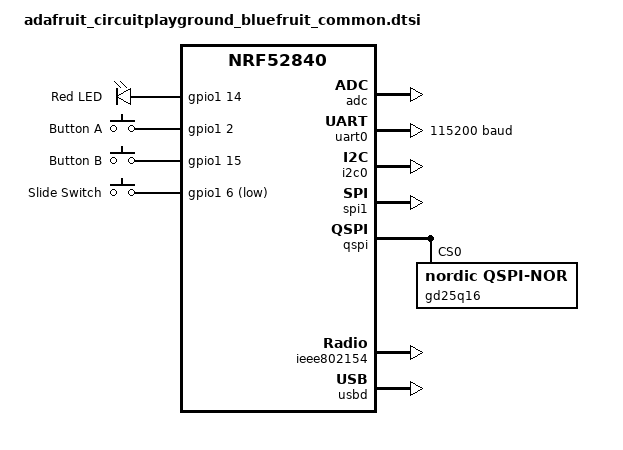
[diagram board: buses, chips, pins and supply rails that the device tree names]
/*
 * Copyright (c) 2026 Adafruit Industries LLC
 *
 * SPDX-License-Identifier: Apache-2.0
 */

/dts-v1/;
#include <nordic/nrf52840_qiaa.dtsi>
#include "adafruit_circuitplayground_bluefruit-pinctrl.dtsi"
#include <zephyr/dt-bindings/input/input-event-codes.h>

/ {
	chosen {
		zephyr,ieee802154 = &ieee802154;
	};

	leds {
		compatible = "gpio-leds";

		led0: led_0 {
			gpios = <&gpio1 14 GPIO_ACTIVE_HIGH>;
			label = "Red LED";
		};
	};

	buttons {
		compatible = "gpio-keys";

		button0: button_0 {
			gpios = <&gpio1 2 (GPIO_PULL_DOWN | GPIO_ACTIVE_HIGH)>;
			label = "Button A";
			zephyr,code = <INPUT_KEY_0>;
		};

		button1: button_1 {
			gpios = <&gpio1 15 (GPIO_PULL_DOWN | GPIO_ACTIVE_HIGH)>;
			label = "Button B";
			zephyr,code = <INPUT_KEY_1>;
		};

		slide_switch: slide_switch {
			gpios = <&gpio1 6 (GPIO_PULL_UP | GPIO_ACTIVE_LOW)>;
			label = "Slide Switch";
			zephyr,code = <INPUT_KEY_2>;
		};
	};

	/* These aliases are provided for compatibility with samples */
	aliases {
		led0 = &led0;
		sw0 = &button0;
		sw1 = &button1;
		watchdog0 = &wdt0;
	};
};

/* No DCDC inductor is fitted (DCC is unconnected), so REG1 stays in LDO mode. */

&adc {
	status = "okay";
};

&uicr {
	gpio-as-nreset;
};

&gpiote {
	status = "okay";
};

&gpio0 {
	status = "okay";
};

&gpio1 {
	status = "okay";
};

&uart0 {
	compatible = "nordic,nrf-uart";
	current-speed = <115200>;
	status = "okay";
	pinctrl-0 = <&uart0_default>;
	pinctrl-1 = <&uart0_sleep>;
	pinctrl-names = "default", "sleep";
};

&i2c0 {
	compatible = "nordic,nrf-twi";
	status = "okay";
	pinctrl-0 = <&i2c0_default>;
	pinctrl-1 = <&i2c0_sleep>;
	pinctrl-names = "default", "sleep";
};

&spi1 {
	compatible = "nordic,nrf-spi";
	status = "okay";
	pinctrl-0 = <&spi1_default>;
	pinctrl-1 = <&spi1_sleep>;
	pinctrl-names = "default", "sleep";
};

&qspi {
	status = "okay";
	pinctrl-0 = <&qspi_default>;
	pinctrl-1 = <&qspi_sleep>;
	pinctrl-names = "default", "sleep";

	gd25q16: gd25q16@0 {
		compatible = "nordic,qspi-nor";
		reg = <0>;
		writeoc = "pp4o";
		readoc = "read4io";
		sck-frequency = <16000000>;
		jedec-id = [c8 40 15];
		size = <16777216>;
		has-dpd;
		t-enter-dpd = <20000>;
		t-exit-dpd = <20000>;
		quad-enable-requirements = "S2B1v1";
	};
};

&ieee802154 {
	status = "okay";
};

zephyr_udc0: &usbd {
	compatible = "nordic,nrf-usbd";
	status = "okay";
};
